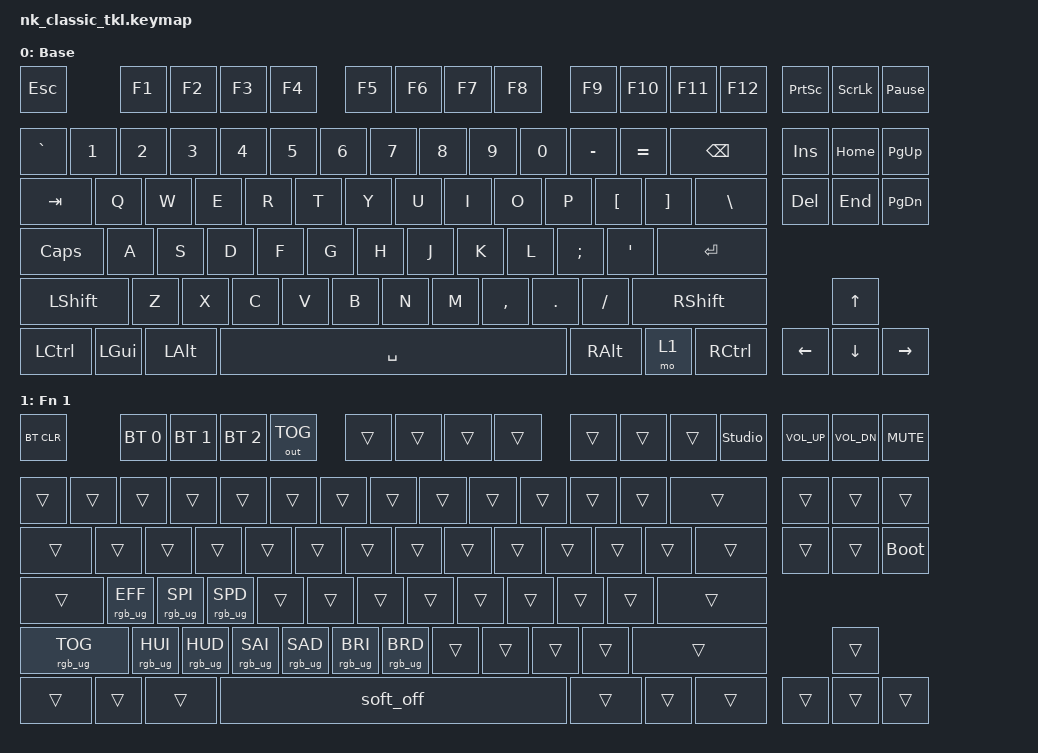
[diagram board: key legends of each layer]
/*
 * Copyright (c) 2025 Yiancar
 *
 * SPDX-License-Identifier: MIT
 */

#include <behaviors.dtsi>
#include <dt-bindings/zmk/keys.h>
#include <dt-bindings/zmk/bt.h>
#include <dt-bindings/zmk/outputs.h>
#include <dt-bindings/zmk/rgb.h>
#include <dt-bindings/zmk/ext_power.h>

/ {
    keymap {
        compatible = "zmk,keymap";

        default_layer {
            display-name = "Base";
            bindings = <
                &kp ESC    &kp F1    &kp F2    &kp F3    &kp F4    &kp F5    &kp F6    &kp F7    &kp F8    &kp F9    &kp F10   &kp F11   &kp F12                  &kp PSCRN    &kp SLCK    &kp PAUSE_BREAK
                &kp GRAVE  &kp N1    &kp N2    &kp N3    &kp N4    &kp N5    &kp N6    &kp N7    &kp N8    &kp N9    &kp N0    &kp MINUS &kp EQUAL &kp BSPC       &kp INS      &kp HOME    &kp PG_UP
                &kp TAB    &kp Q     &kp W     &kp E     &kp R     &kp T     &kp Y     &kp U     &kp I     &kp O     &kp P     &kp LBKT  &kp RBKT  &kp BSLH       &kp DEL      &kp END     &kp PG_DN
                &kp CAPS   &kp A     &kp S     &kp D     &kp F     &kp G     &kp H     &kp J     &kp K     &kp L     &kp SEMI  &kp APOS            &kp ENTER
                &kp LSHFT  &kp Z     &kp X     &kp C     &kp V     &kp B     &kp N     &kp M     &kp COMMA &kp DOT   &kp SLASH           &kp RSHFT                             &kp UP
                &kp LCTRL  &kp LGUI  &kp LALT                                &kp SPACE                                         &kp RALT  &mo 1     &kp RCTRL      &kp LEFT     &kp DOWN    &kp RIGHT
            >;
        };

        fn1_layer {
            display-name = "Fn 1";
            bindings = <
                &bt BT_CLR      &bt BT_SEL 0    &bt BT_SEL 1    &bt BT_SEL 2    &out OUT_TOG    &trans          &trans          &trans  &trans  &trans  &trans  &trans  &studio_unlock             &kp C_VOL_UP  &kp C_VOL_DN  &kp C_MUTE
                &trans          &trans          &trans          &trans          &trans          &trans          &trans          &trans  &trans  &trans  &trans  &trans  &trans          &trans     &trans        &trans        &trans
                &trans          &trans          &trans          &trans          &trans          &trans          &trans          &trans  &trans  &trans  &trans  &trans  &trans          &trans     &trans        &trans        &bootloader
                &trans          &rgb_ug RGB_EFF &rgb_ug RGB_SPI &rgb_ug RGB_SPD &trans          &trans          &trans          &trans  &trans  &trans  &trans  &trans                  &trans
                &rgb_ug RGB_TOG &rgb_ug RGB_HUI &rgb_ug RGB_HUD &rgb_ug RGB_SAI &rgb_ug RGB_SAD &rgb_ug RGB_BRI &rgb_ug RGB_BRD &trans  &trans  &trans  &trans          &trans                                   &trans
                &trans          &trans          &trans                                                          &soft_off                                       &trans  &trans          &trans     &trans        &trans        &trans
            >;
        };

        extra1 {
            status = "reserved";
        };

        extra2 {
            status = "reserved";
        };
    };
};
